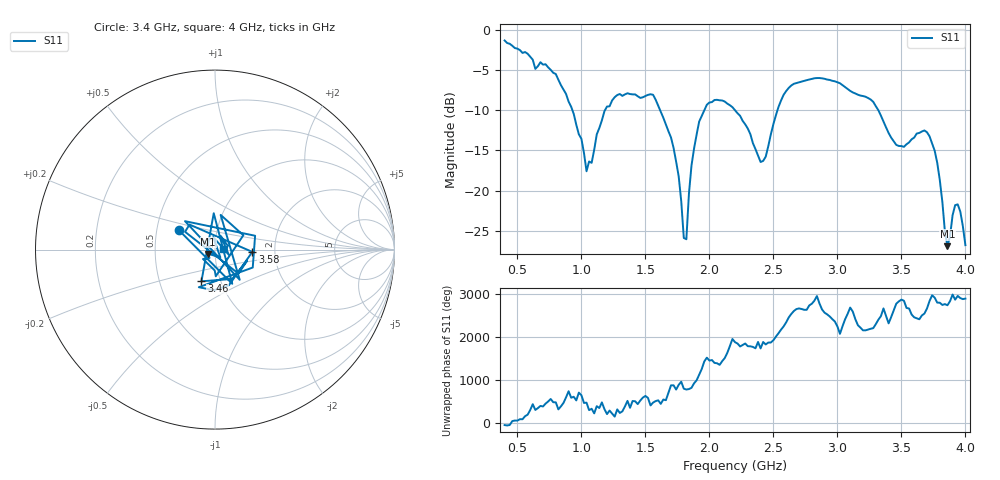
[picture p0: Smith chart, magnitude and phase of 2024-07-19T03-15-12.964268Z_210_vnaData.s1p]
!Created with skrf (http://scikit-rf.org).
# Hz S RI R 50.0
!freq ReS11 ImS11
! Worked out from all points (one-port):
!   181 points, 400 MHz to 4 GHz, reference 50 ohm
!   lowest |S11| = -26.9 dB at 3.86 GHz (marker M1), VSWR 1.09, Z = 46.2 - j2.19 ohm
!   |S11| at or under -10 dB: 1.615 GHz to 1.961 GHz (345.5 MHz wide, 19.3 % of centre); 2.199 GHz to 2.532 GHz (333.2 MHz wide, 14.1 % of centre); 3.319 GHz to end of sweep (the widest 3 of 4)
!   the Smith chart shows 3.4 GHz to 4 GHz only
!   S11 on the Smith chart (normalised r, x): 3.4 GHz: 0.65, +0.15; 3.46 GHz: 0.81, -0.30; 3.58 GHz: 1.52, -0.04; 4 GHz: 1.10, +0.01
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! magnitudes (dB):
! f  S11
! 400 MHz  -1.4
! 860 MHz  -7.5
! 1.04 GHz  -17.6
! 1.18 GHz  -10.1
! 1.3 GHz  -8.0
! 1.56 GHz  -8.1
! 1.7 GHz  -13.4
! 1.76 GHz  -18.2
! 1.8 GHz  -25.9
! 1.82 GHz  -26.0
! 1.86 GHz  -16.9
! 1.92 GHz  -11.4
! 2.04 GHz  -8.7
! 2.2 GHz  -10.0
! 2.42 GHz  -16.3
! 2.56 GHz  -8.8
! 2.66 GHz  -6.7
! 3.1 GHz  -7.6
! 3.28 GHz  -9.0
! 3.4 GHz  -12.8
! 3.46 GHz  -14.3
! 3.56 GHz  -14.0
! 3.58 GHz  -13.6
! 3.68 GHz  -12.5
! 3.76 GHz  -15.0
! 3.86 GHz  -26.9
! 3.94 GHz  -21.7
! 4 GHz  -26.8
